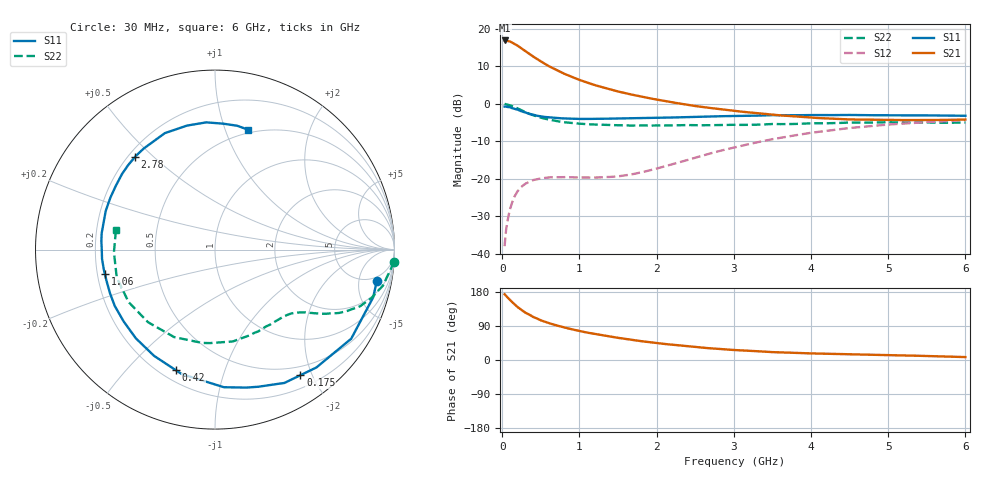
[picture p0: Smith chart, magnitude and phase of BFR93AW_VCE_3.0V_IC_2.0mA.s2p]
! Infineon Technologies  Discrete & RF Semiconductors
! BFR93AW
! VCE =  3.0 V,  IC =  2.0 mA
! Common Emitter S-Parameters:  Nov 2015
# GHz  S  MA  R  50
!  f  S11  S21  S12  S22
! GHz  MAG  ANG  MAG  ANG  MAG  ANG  MAG  ANG
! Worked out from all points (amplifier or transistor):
!   206 points, 30 MHz to 6 GHz, reference 50 ohm
!   highest |S21| = 16.9 dB at 30 MHz (marker M1)
!   |S21| within 3 dB of that: start of sweep to 310.2 MHz
!   unconditionally stable (mu >= 1): 1.219 GHz to 2.393 GHz
!   at 200 MHz: K = 0.16, MSG = 19.4 dB, |S12| = -23.3 dB
!   at 1.56 GHz: K = 1.16, MAG = 8.7 dB, |S12| = -19.2 dB
!   at 6 GHz: K = 1.00, MSG = 0.1 dB, |S12| = -4.3 dB
!   S11 on the Smith chart (normalised r, x): 30 MHz: 3.82, -8.62; 175 MHz: 0.37, -1.83; 420 MHz: 0.26, -0.70; 1.06 GHz: 0.23, -0.10; 2.78 GHz: 0.23, +0.44; 6 GHz: 0.47, +1.21
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0.03  0.9183 -11.1  7.012 173.4  0.0126 82.9  0.9991 -3.9
0.055  0.9158 -18.4  6.962 167.8  0.0229 78.0  0.9822 -6.8
0.1  0.9069 -33.2  6.798 158.3  0.0391 71.6  0.957 -12.1
0.15  0.8663 -49.3  6.393 148.1  0.056 63.7  0.9133 -17.1
0.175  0.8463 -55.8  6.158 143.9  0.0622 60.2  0.8902 -19.1
0.2  0.8375 -62.5  5.958 139.4  0.0686 57.3  0.8682 -21.3
0.26  0.7884 -77.2  5.392 130.2  0.08 50.2  0.8103 -25.0
0.3  0.7684 -86.3  5.051 124.8  0.086 46.9  0.7772 -27.0
0.42  0.7069 -107.9  4.146 112.0  0.097 39.1  0.6938 -31.0
0.5  0.6823 -119.9  3.681 104.6  0.1011 35.5  0.6519 -32.9
0.6  0.6623 -131.8  3.195 97.4  0.1043 32.8  0.6159 -34.6
0.7  0.6474 -141.8  2.834 91.4  0.1051 31.6  0.5897 -36.4
0.82  0.6385 -152.0  2.479 84.9  0.1052 31.0  0.5655 -38.6
1.04  0.6283 -166.5  2.018 74.9  0.1042 33.1  0.5399 -42.8
1.06  0.6284 -167.6  1.985 74.1  0.1042 33.3  0.5379 -43.3
1.5  0.6379 171.7  1.46 58.5  0.1077 45.5  0.5189 -53.6
2.02  0.6512 152.8  1.13 44.1  0.1385 60.9  0.515 -68.2
2.78  0.682 131.1  0.859 29.5  0.23 67.7  0.5208 -91.4
3.1  0.6901 122.8  0.786 25.4  0.2756 65.8  0.5236 -101.2
4.1  0.7074 100.9  0.646 17.0  0.4231 53.3  0.5495 -136.0
5.1  0.702 85.0  0.608 12.4  0.5365 37.7  0.565 -166.9
6  0.693 74.4  0.616 7.7  0.6071 24.9  0.5624 168.9
